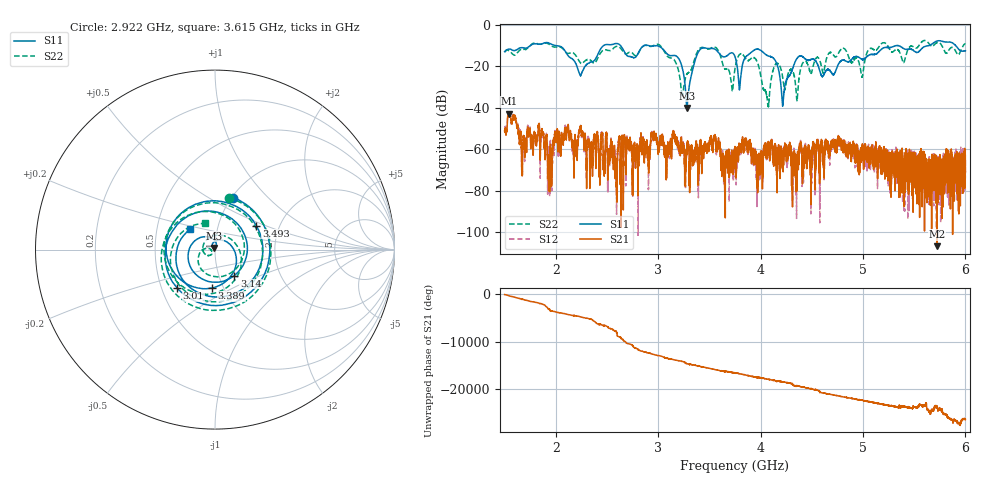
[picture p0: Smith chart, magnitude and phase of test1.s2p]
!Keysight Technologies N9923A: A.08.15
!Date: Monday, 19 February 2024 16:27:29
!Timezone: (GMT-05:00) Eastern Time (US & Canada)
!Model: N9923A
!Serial: MY52412730
!GPS Latitude:
!GPS Longitude:
!GPS TimeStamp: 0001-01-01 00:00:00Z
!GPS Seconds Since Last Read: 0
!CHECKSUM:0031122548
!Correction: S11(ON Q)S21(ON Q)S12(ON Q)S22(ON Q)
!S2P File: Measurements:S11,S21,S12,S22:
# Hz S DB R 50
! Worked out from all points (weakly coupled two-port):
!   10001 points, 1.5 GHz to 6 GHz, reference 50 ohm
!   highest |S21| = -42.86 dB at 1.546 GHz (marker M1); lowest = -106.9 dB at 5.722 GHz (marker M2)
!   lowest |S11| = -40.2 dB at 3.282 GHz (marker M3), VSWR 1.02, Z = 49.6 + j0.876 ohm
!   |S11| at or under -10 dB: 1.992 GHz to 2.468 GHz (476.2 MHz wide, 21.4 % of centre); 2.901 GHz to 5.329 GHz (2.428 GHz wide, 59 % of centre); 5.336 GHz to 5.647 GHz (311.1 MHz wide, 5.67 % of centre) (the widest 3 of 8)
!   |S22| runs from -39.8 to -7.6 dB; largest |S21 - S12| = 0.0012
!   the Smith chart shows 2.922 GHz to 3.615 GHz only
!   S11 on the Smith chart (normalised r, x): 2.922 GHz: 1.02, +0.65; 3.01 GHz: 0.60, -0.28; 3.14 GHz: 1.18, -0.35; 3.389 GHz: 0.89, -0.40; 3.493 GHz: 1.52, +0.44; 3.615 GHz: 0.74, +0.18
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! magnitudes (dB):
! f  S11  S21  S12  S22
! 1.5 GHz  -13.0  -51.1  -51.5  -13.2
! 1.546 GHz  -11.7  -42.9  -43.1  -12.6
! 1.941 GHz  -9.0  -69.1  -67.3  -9.6
! 2.25 GHz  -23.6  -53.4  -53.1  -18.7
! 2.58 GHz  -9.1  -69.0  -73.5  -10.7
! 2.922 GHz  -10.3  -60.4  -60.4  -10.5
! 3 GHz  -10.3  -62.6  -60.6  -9.5
! 3.01 GHz  -10.4  -59.7  -60.3  -9.7
! 3.14 GHz  -14.9  -53.5  -53.8  -16.3
! 3.282 GHz  -40.2  -58.2  -59.6  -23.6
! 3.389 GHz  -13.4  -77.4  -71.4  -12.5
! 3.493 GHz  -11.5  -59.5  -59.2  -11.8
! 3.615 GHz  -14.9  -64.9  -66.6  -16.2
! 3.75 GHz  -15.4  -58.8  -62.3  -21.1
! 3.943 GHz  -12.1  -63.9  -61.2  -16.1
! 4.066 GHz  -14.9  -62.6  -59.6  -36.8
! 4.117 GHz  -15.8  -63.0  -59.2  -22.7
! 4.219 GHz  -37.9  -62.7  -64.0  -26.3
! 4.5 GHz  -16.6  -63.8  -63.8  -22.7
! 5.25 GHz  -11.0  -66.2  -60.9  -10.9
! 5.722 GHz  -7.9  -106.9  -66.5  -8.6
! 6 GHz  -12.6  -71.0  -65.0  -9.1
